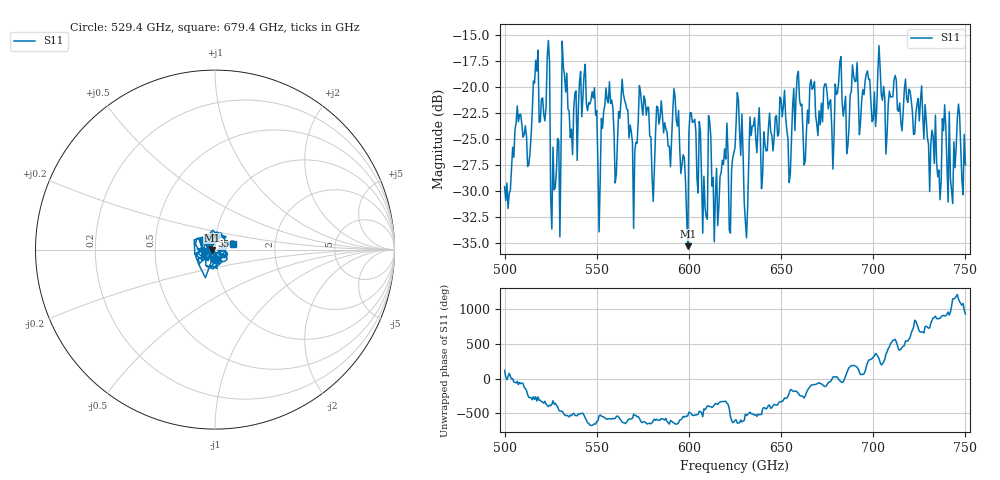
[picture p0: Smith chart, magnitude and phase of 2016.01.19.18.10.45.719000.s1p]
!Created with skrf (http://scikit-rf.org).
# GHz S RI R 50.0
!freq ReS11 ImS11
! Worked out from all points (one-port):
!   401 points, 500 GHz to 750 GHz, reference 50 ohm
!   lowest |S11| = -35.3 dB at 599.4 GHz (marker M1), VSWR 1.03, Z = 48.3 - j0.216 ohm
!   |S11| at or under -10 dB: start of sweep to end of sweep
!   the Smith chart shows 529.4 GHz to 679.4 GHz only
!   S11 on the Smith chart (normalised r, x): 529.4 GHz: 0.99, -0.11; 550 GHz: 0.96, +0.14; 679.4 GHz: 1.21, +0.08
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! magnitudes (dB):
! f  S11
! 500 GHz  -29.6
! 507.5 GHz  -23.4
! 513.1 GHz  -27.5
! 516.9 GHz  -17.5
! 523.1 GHz  -17.2
! 526.2 GHz  -25.8
! 529.4 GHz  -25.2
! 531.2 GHz  -15.6
! 542.5 GHz  -21.0
! 550 GHz  -22.3
! 562.5 GHz  -23.0
! 570.6 GHz  -26.1
! 574.4 GHz  -21.8
! 580 GHz  -28.6
! 593.8 GHz  -23.8
! 599.4 GHz  -35.3
! 601.9 GHz  -23.4
! 615 GHz  -27.8
! 625 GHz  -25.9
! 631.2 GHz  -34.5
! 634.4 GHz  -23.8
! 656.2 GHz  -21.9
! 679.4 GHz  -19.7
! 687.5 GHz  -20.8
! 718.8 GHz  -21.5
! 735.6 GHz  -28.0
! 738.8 GHz  -21.7
! 750 GHz  -27.5
